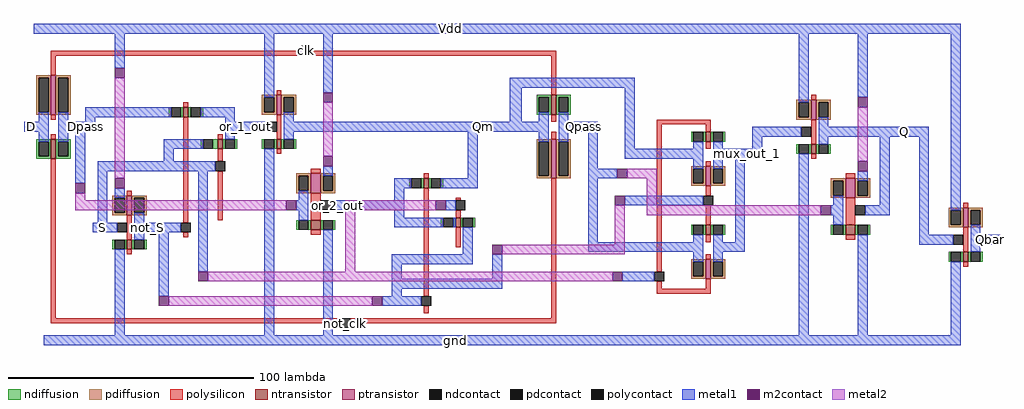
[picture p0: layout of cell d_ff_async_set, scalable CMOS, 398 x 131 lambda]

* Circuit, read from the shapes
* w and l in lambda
.subckt d_ff_async_set D Dpass Q Qbar Qm Qpass S Vdd clk gnd mux_out_1 not_S not_clk or_1_out or_2_out
M1 Dpass not_clk D VSUBS nfet w=8 l=2
M2 not_S S gnd VSUBS nfet w=4 l=2
M3 or_1_out not_S Dpass VSUBS nfet w=4 l=2
M4 or_1_out S S VSUBS nfet w=4 l=2
M5 Qm or_1_out gnd VSUBS nfet w=4 l=2
M6 gnd or_2_out Dpass VSUBS nfet w=4 l=4
M7 Qm not_S or_2_out VSUBS nfet w=4 l=2
M8 not_S S or_2_out VSUBS nfet w=4 l=2
M9 Qpass clk Qm VSUBS nfet w=8 l=2
M10 mux_out_1 not_S Qpass VSUBS nfet w=4 l=2
M11 mux_out_1 S Qm VSUBS nfet w=4 l=2
M12 Q mux_out_1 gnd VSUBS nfet w=4 l=2
M13 gnd Q Qpass VSUBS nfet w=4 l=4
M14 Qbar Q gnd VSUBS nfet w=4 l=2
M15 Dpass clk D NWELL pfet w=16 l=2
M16 not_S S Vdd NWELL pfet w=8 l=2
M17 Qm or_1_out Vdd NWELL pfet w=8 l=2
M18 Vdd or_2_out Dpass NWELL pfet w=8 l=4
M19 Qpass not_clk Qm NWELL pfet w=16 l=2
M20 mux_out_1 S Qpass NWELL pfet w=8 l=2
M21 mux_out_1 not_S Qm NWELL pfet w=8 l=2
M22 Q mux_out_1 Vdd NWELL pfet w=8 l=2
M23 Vdd Q Qpass NWELL pfet w=8 l=4
M24 Qbar Q Vdd NWELL pfet w=8 l=2
.ends

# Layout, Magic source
magic
tech scmos
<< polysilicon >>
rect -124 22 -22 24
rect -18 22 82 24
rect -124 14 -122 22
rect -32 6 -30 8
rect 80 6 82 22
rect -70 1 -68 3
rect -124 -4 -122 -2
rect 186 4 188 6
rect -124 -12 -122 -10
rect -124 -85 -122 -20
rect -93 -35 -91 -33
rect -93 -53 -91 -43
rect -70 -46 -68 -3
rect -56 -12 -54 -10
rect -32 -12 -30 -2
rect 80 -5 82 -2
rect 123 -6 145 -4
rect 80 -12 82 -9
rect -56 -21 -54 -16
rect -32 -18 -30 -16
rect -56 -45 -54 -25
rect -18 -26 -14 -24
rect 28 -28 30 -26
rect -18 -45 -14 -34
rect -70 -52 -68 -50
rect -18 -51 -14 -49
rect -93 -59 -91 -57
rect 28 -76 30 -32
rect 41 -37 43 -36
rect 41 -44 43 -41
rect 41 -56 43 -48
rect 28 -83 30 -80
rect 80 -85 82 -28
rect 123 -66 125 -6
rect 143 -9 145 -6
rect 143 -16 145 -13
rect 186 -14 188 -4
rect 186 -20 188 -18
rect 143 -23 145 -21
rect 200 -28 204 -26
rect 143 -35 145 -31
rect 143 -47 145 -39
rect 200 -47 204 -36
rect 248 -40 250 -38
rect 143 -54 145 -51
rect 200 -53 204 -51
rect 248 -58 250 -48
rect 143 -61 145 -59
rect 248 -64 250 -62
rect 123 -73 125 -70
rect 143 -73 145 -69
rect 123 -75 145 -73
rect -124 -87 -6 -85
rect -2 -87 82 -85
<< ndiffusion >>
rect -76 -3 -75 1
rect -71 -3 -70 1
rect -68 -3 -67 1
rect -63 -3 -62 1
rect 74 5 80 6
rect 74 -1 75 5
rect 79 -1 80 5
rect 74 -2 80 -1
rect 82 5 88 6
rect 82 -1 83 5
rect 87 -1 88 5
rect 82 -2 88 -1
rect -130 -13 -124 -12
rect -130 -19 -129 -13
rect -125 -19 -124 -13
rect -130 -20 -124 -19
rect -122 -13 -116 -12
rect -122 -19 -121 -13
rect -117 -19 -116 -13
rect -122 -20 -116 -19
rect -63 -16 -62 -12
rect -58 -16 -56 -12
rect -54 -16 -53 -12
rect -49 -16 -48 -12
rect -38 -16 -37 -12
rect -33 -16 -32 -12
rect -30 -16 -29 -12
rect -25 -16 -24 -12
rect 22 -32 23 -28
rect 27 -32 28 -28
rect 30 -32 31 -28
rect 35 -32 36 -28
rect -24 -49 -23 -45
rect -19 -49 -18 -45
rect -14 -49 -13 -45
rect -9 -49 -8 -45
rect -99 -57 -98 -53
rect -94 -57 -93 -53
rect -91 -57 -90 -53
rect -86 -57 -85 -53
rect 35 -48 36 -44
rect 40 -48 41 -44
rect 43 -48 44 -44
rect 48 -48 49 -44
rect 137 -13 138 -9
rect 142 -13 143 -9
rect 145 -13 146 -9
rect 150 -13 151 -9
rect 180 -18 181 -14
rect 185 -18 186 -14
rect 188 -18 189 -14
rect 193 -18 194 -14
rect 137 -51 138 -47
rect 142 -51 143 -47
rect 145 -51 146 -47
rect 150 -51 151 -47
rect 194 -51 195 -47
rect 199 -51 200 -47
rect 204 -51 205 -47
rect 209 -51 210 -47
rect 242 -62 243 -58
rect 247 -62 248 -58
rect 250 -62 251 -58
rect 255 -62 256 -58
<< pdiffusion >>
rect -130 13 -124 14
rect -130 -1 -129 13
rect -125 -1 -124 13
rect -130 -2 -124 -1
rect -122 13 -116 14
rect -122 -1 -121 13
rect -117 -1 -116 13
rect -38 5 -32 6
rect -122 -2 -116 -1
rect -38 -1 -37 5
rect -33 -1 -32 5
rect -38 -2 -32 -1
rect -30 5 -24 6
rect -30 -1 -29 5
rect -25 -1 -24 5
rect -30 -2 -24 -1
rect 180 3 186 4
rect -99 -36 -93 -35
rect -99 -42 -98 -36
rect -94 -42 -93 -36
rect -99 -43 -93 -42
rect -91 -36 -85 -35
rect -91 -42 -90 -36
rect -86 -42 -85 -36
rect -91 -43 -85 -42
rect 180 -3 181 3
rect 185 -3 186 3
rect 180 -4 186 -3
rect 188 3 194 4
rect 188 -3 189 3
rect 193 -3 194 3
rect 188 -4 194 -3
rect 74 -13 80 -12
rect -24 -27 -18 -26
rect -24 -33 -23 -27
rect -19 -33 -18 -27
rect -24 -34 -18 -33
rect -14 -27 -8 -26
rect -14 -33 -13 -27
rect -9 -33 -8 -27
rect 74 -27 75 -13
rect 79 -27 80 -13
rect 74 -28 80 -27
rect 82 -13 88 -12
rect 82 -27 83 -13
rect 87 -27 88 -13
rect 82 -28 88 -27
rect -14 -34 -8 -33
rect 137 -24 143 -23
rect 137 -30 138 -24
rect 142 -30 143 -24
rect 137 -31 143 -30
rect 145 -24 151 -23
rect 145 -30 146 -24
rect 150 -30 151 -24
rect 145 -31 151 -30
rect 194 -29 200 -28
rect 194 -35 195 -29
rect 199 -35 200 -29
rect 194 -36 200 -35
rect 204 -29 210 -28
rect 204 -35 205 -29
rect 209 -35 210 -29
rect 204 -36 210 -35
rect 242 -41 248 -40
rect 242 -47 243 -41
rect 247 -47 248 -41
rect 242 -48 248 -47
rect 250 -41 256 -40
rect 250 -47 251 -41
rect 255 -47 256 -41
rect 250 -48 256 -47
rect 137 -62 143 -61
rect 137 -68 138 -62
rect 142 -68 143 -62
rect 137 -69 143 -68
rect 145 -62 151 -61
rect 145 -68 146 -62
rect 150 -68 151 -62
rect 145 -69 151 -68
<< metal1 >>
rect -131 31 247 35
rect -98 17 -94 31
rect -129 -5 -125 -1
rect -135 -9 -125 -5
rect -129 -13 -125 -9
rect -37 5 -33 31
rect -13 7 -9 31
rect -121 -5 -117 -1
rect -110 -3 -75 1
rect -63 -3 -49 1
rect 63 9 114 13
rect -110 -5 -106 -3
rect -121 -9 -106 -5
rect -53 -5 -49 -3
rect -29 -5 -25 -1
rect 63 -5 68 9
rect 75 -5 79 -1
rect -53 -9 -36 -5
rect -29 -9 79 -5
rect -121 -13 -117 -9
rect -114 -30 -110 -9
rect -53 -12 -49 -9
rect -29 -12 -25 -9
rect -78 -16 -62 -12
rect -78 -21 -74 -16
rect -105 -25 -57 -21
rect -105 -46 -101 -25
rect -98 -36 -94 -32
rect -90 -46 -86 -42
rect -107 -50 -97 -46
rect -90 -50 -71 -46
rect -90 -53 -86 -50
rect -98 -92 -94 -57
rect -80 -76 -76 -50
rect -64 -66 -60 -25
rect -37 -92 -33 -16
rect -13 -27 -9 -23
rect 46 -28 50 -9
rect 75 -13 79 -9
rect 83 -5 87 -1
rect 83 -9 99 -5
rect 83 -13 87 -9
rect 95 -24 99 -9
rect 110 -16 114 9
rect 181 3 185 31
rect 205 5 209 31
rect 189 -7 193 -3
rect 138 -16 142 -13
rect 110 -20 142 -16
rect 138 -24 142 -20
rect 16 -32 23 -28
rect 35 -32 50 -28
rect 95 -28 107 -24
rect -23 -37 -19 -33
rect 16 -37 20 -32
rect -24 -41 -19 -37
rect -10 -41 20 -37
rect 37 -41 41 -37
rect -23 -45 -19 -41
rect 16 -44 20 -41
rect 16 -48 36 -44
rect 40 -48 41 -44
rect -13 -92 -9 -49
rect 44 -59 48 -48
rect 95 -54 99 -28
rect 146 -16 150 -13
rect 162 -11 182 -7
rect 189 -11 234 -7
rect 162 -16 166 -11
rect 189 -14 193 -11
rect 146 -20 166 -16
rect 146 -24 150 -20
rect 110 -39 142 -35
rect 138 -54 142 -51
rect 15 -63 48 -59
rect 95 -58 142 -54
rect 15 -69 19 -63
rect 56 -69 60 -59
rect 138 -62 142 -58
rect 15 -73 60 -69
rect 109 -70 122 -66
rect 146 -54 150 -51
rect 155 -54 159 -20
rect 146 -58 159 -54
rect 146 -62 150 -58
rect 15 -76 19 -73
rect 11 -80 27 -76
rect 181 -92 185 -18
rect 205 -29 209 -25
rect 195 -39 199 -35
rect 214 -39 218 -11
rect 194 -43 199 -39
rect 208 -43 218 -39
rect 195 -47 199 -43
rect 205 -92 209 -51
rect 230 -51 234 -11
rect 243 -41 247 31
rect 251 -51 255 -47
rect 230 -55 244 -51
rect 251 -55 263 -51
rect 251 -58 255 -55
rect 243 -92 247 -62
rect -127 -96 247 -92
<< metal2 >>
rect -98 -28 -94 13
rect -13 -19 -9 3
rect 205 -21 209 1
rect 111 -28 123 -24
rect -114 -37 -110 -34
rect -114 -41 -28 -37
rect -4 -41 33 -37
rect -4 -66 0 -41
rect 106 -55 110 -39
rect 119 -39 123 -28
rect 119 -43 190 -39
rect 60 -59 110 -55
rect -60 -70 105 -66
rect -76 -80 7 -76
<< ntransistor >>
rect -70 -3 -68 1
rect 80 -2 82 6
rect -124 -20 -122 -12
rect -56 -16 -54 -12
rect -32 -16 -30 -12
rect 28 -32 30 -28
rect -18 -49 -14 -45
rect -93 -57 -91 -53
rect 41 -48 43 -44
rect 143 -13 145 -9
rect 186 -18 188 -14
rect 143 -51 145 -47
rect 200 -51 204 -47
rect 248 -62 250 -58
<< ptransistor >>
rect -124 -2 -122 14
rect -32 -2 -30 6
rect -93 -43 -91 -35
rect 186 -4 188 4
rect -18 -34 -14 -26
rect 80 -28 82 -12
rect 143 -31 145 -23
rect 200 -36 204 -28
rect 248 -48 250 -40
rect 143 -69 145 -61
<< polycontact >>
rect -22 22 -18 26
rect -97 -50 -93 -46
rect -36 -9 -32 -5
rect -57 -25 -53 -21
rect -14 -41 -10 -37
rect -71 -50 -67 -46
rect 41 -41 45 -37
rect 27 -80 31 -76
rect 182 -11 186 -7
rect 142 -39 146 -35
rect 204 -43 208 -39
rect 244 -55 248 -51
rect 122 -70 126 -66
rect -6 -89 -2 -85
<< ndcontact >>
rect -75 -3 -71 1
rect -67 -3 -63 1
rect 75 -1 79 5
rect 83 -1 87 5
rect -129 -19 -125 -13
rect -121 -19 -117 -13
rect -62 -16 -58 -12
rect -53 -16 -49 -12
rect -37 -16 -33 -12
rect -29 -16 -25 -12
rect 23 -32 27 -28
rect 31 -32 35 -28
rect -23 -49 -19 -45
rect -13 -49 -9 -45
rect -98 -57 -94 -53
rect -90 -57 -86 -53
rect 36 -48 40 -44
rect 44 -48 48 -44
rect 138 -13 142 -9
rect 146 -13 150 -9
rect 181 -18 185 -14
rect 189 -18 193 -14
rect 138 -51 142 -47
rect 146 -51 150 -47
rect 195 -51 199 -47
rect 205 -51 209 -47
rect 243 -62 247 -58
rect 251 -62 255 -58
<< pdcontact >>
rect -129 -1 -125 13
rect -121 -1 -117 13
rect -37 -1 -33 5
rect -29 -1 -25 5
rect -98 -42 -94 -36
rect -90 -42 -86 -36
rect 181 -3 185 3
rect 189 -3 193 3
rect -23 -33 -19 -27
rect -13 -33 -9 -27
rect 75 -27 79 -13
rect 83 -27 87 -13
rect 138 -30 142 -24
rect 146 -30 150 -24
rect 195 -35 199 -29
rect 205 -35 209 -29
rect 243 -47 247 -41
rect 251 -47 255 -41
rect 138 -68 142 -62
rect 146 -68 150 -62
<< m2contact >>
rect -98 13 -94 17
rect -13 3 -9 7
rect -114 -34 -110 -30
rect -98 -32 -94 -28
rect -64 -70 -60 -66
rect -80 -80 -76 -76
rect -13 -23 -9 -19
rect 205 1 209 5
rect 107 -28 111 -24
rect -28 -41 -24 -37
rect 33 -41 37 -37
rect 106 -39 110 -35
rect 56 -59 60 -55
rect 105 -70 109 -66
rect 7 -80 11 -76
rect 205 -25 209 -21
rect 190 -43 194 -39
<< labels >>
rlabel metal1 -135 -9 -129 -5 0 D
rlabel polycontact -22 22 -18 26 0 clk
rlabel metal1 -107 -50 -99 -46 0 S
rlabel metal1 49 -9 56 -5 0 Qm
rlabel metal1 -131 31 209 35 0 Vdd
rlabel metal1 87 -9 99 -5 0 Qpass
rlabel metal1 154 -20 166 -16 1 mux_out_1
rlabel polycontact -6 -89 -2 -85 0 not_clk
rlabel metal1 -114 -9 -106 -5 0 Dpass
rlabel metal1 218 -11 230 -7 0 Q
rlabel metal1 -49 -9 -40 -5 0 or_1_out
rlabel metal1 -10 -41 -4 -37 0 or_2_out
rlabel metal1 -90 -50 -79 -46 0 not_S
rlabel metal1 -127 -96 209 -92 0 gnd
rlabel metal1 255 -55 263 -51 0 Qbar
<< end >>
